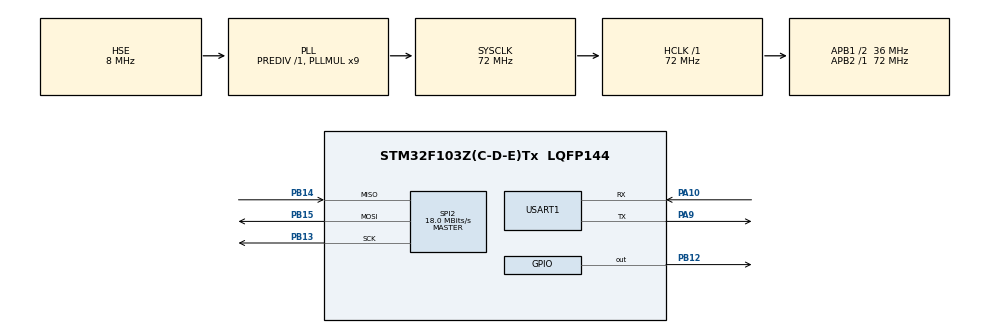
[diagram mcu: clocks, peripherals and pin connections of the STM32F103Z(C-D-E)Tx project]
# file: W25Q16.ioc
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Mcu.Family=STM32F1
Mcu.Name=STM32F103Z(C-D-E)Tx
Mcu.Package=LQFP144
NVIC.PriorityGroup=NVIC_PRIORITYGROUP_4
OSC_IN.Mode=HSE-External-Oscillator
OSC_IN.Signal=RCC_OSC_IN
OSC_OUT.Mode=HSE-External-Oscillator
OSC_OUT.Signal=RCC_OSC_OUT
PA10.Mode=Asynchronous
PA10.Signal=USART1_RX
PA9.Mode=Asynchronous
PA9.Signal=USART1_TX
PB12.Signal=GPIO_Output
PB13.Mode=Full_Duplex_Master
PB13.Signal=SPI2_SCK
PB14.Mode=Full_Duplex_Master
PB14.Signal=SPI2_MISO
PB15.Mode=Full_Duplex_Master
PB15.Signal=SPI2_MOSI
ProjectManager.HeapSize=0x200
ProjectManager.StackSize=0x400
ProjectManager.TargetToolchain=MDK-ARM V5.32
RCC.AHBFreq_Value=72000000
RCC.APB1CLKDivider=RCC_HCLK_DIV2
RCC.APB1Freq_Value=36000000
RCC.APB1TimFreq_Value=72000000
RCC.APB2Freq_Value=72000000
RCC.APB2TimFreq_Value=72000000
RCC.HCLKFreq_Value=72000000
RCC.PLLMUL=RCC_PLL_MUL9
RCC.PLLSourceVirtual=RCC_PLLSOURCE_HSE
RCC.SYSCLKFreq_VALUE=72000000
RCC.SYSCLKSource=RCC_SYSCLKSOURCE_PLLCLK
RCC.USBFreq_Value=72000000
SPI2.CalculateBaudRate=18.0 MBits/s
SPI2.Direction=SPI_DIRECTION_2LINES
SPI2.Mode=SPI_MODE_MASTER
SPI2.VirtualType=VM_MASTER
USART1.VirtualMode=VM_ASYNC
VP_SYS_VS_ND.Mode=No_Debug
board=custom

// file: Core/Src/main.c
/* USER CODE BEGIN Header */
/**
  ******************************************************************************
  * @file           : main.c
  * @brief          : Main program body
  ******************************************************************************
  * @attention
  *
  * Copyright (c) 2023 STMicroelectronics.
  * All rights reserved.
  *
  * This software is licensed under terms that can be found in the LICENSE file
  * in the root directory of this software component.
  * If no LICENSE file comes with this software, it is provided AS-IS.
  *
  ******************************************************************************
  */
/* USER CODE END Header */
#include "main.h"
#include "spi.h"
#include "usart.h"
#include "gpio.h"

/* USER CODE BEGIN Includes */
#include "W25Q.h"
#include "stdio.h"
#include "string.h"
/* USER CODE END Includes */

/* USER CODE BEGIN PV */
uint16_t ID;
char message[100];
char messageR[100];
/* USER CODE END PV */

void SystemClock_Config(void);

int main(void)
{

  /* MCU Configuration--------------------------------------------------------*/

  /* Reset of all peripherals, Initializes the Flash interface and the Systick. */
  HAL_Init();

  /* Configure the system clock */
  SystemClock_Config();

  /* Initialize all configured peripherals */
  MX_GPIO_Init();
  MX_SPI2_Init();
  MX_USART1_UART_Init();

  /* Infinite loop */
  /* USER CODE BEGIN WHILE */
	ID=SPI_Flash_ReadID();
	sprintf(message,"ID:0x%0x\n",ID);
	HAL_UART_Transmit(&huart1,(uint8_t*)message,strlen(message),50);

	SPI_Flash_Erase_Chip();
	sprintf(message,"Erased.\n");
	HAL_UART_Transmit(&huart1,(uint8_t*)message,strlen(message),50);

	sprintf(message,"DATA.\n");
	SPI_Flash_Write_Page(0x0,strlen(message),(uint8_t*)message);

	SPI_Flash_Read(0x0,strlen(message),(uint8_t*)messageR);
	HAL_UART_Transmit(&huart1,(uint8_t*)messageR,strlen(messageR),50);
  while (1)
  {
    /* USER CODE END WHILE */

  }
}

void SystemClock_Config(void)
{
  RCC_OscInitTypeDef RCC_OscInitStruct = {0};
  RCC_ClkInitTypeDef RCC_ClkInitStruct = {0};

  /** Initializes the RCC Oscillators according to the specified parameters
  * in the RCC_OscInitTypeDef structure.
  */
  RCC_OscInitStruct.OscillatorType = RCC_OSCILLATORTYPE_HSE;
  RCC_OscInitStruct.HSEState = RCC_HSE_ON;
  RCC_OscInitStruct.HSEPredivValue = RCC_HSE_PREDIV_DIV1;
  RCC_OscInitStruct.HSIState = RCC_HSI_ON;
  RCC_OscInitStruct.PLL.PLLState = RCC_PLL_ON;
  RCC_OscInitStruct.PLL.PLLSource = RCC_PLLSOURCE_HSE;
  RCC_OscInitStruct.PLL.PLLMUL = RCC_PLL_MUL9;
  if (HAL_RCC_OscConfig(&RCC_OscInitStruct) != HAL_OK)
  {
    Error_Handler();
  }

  /** Initializes the CPU, AHB and APB buses clocks
  */
  RCC_ClkInitStruct.ClockType = RCC_CLOCKTYPE_HCLK|RCC_CLOCKTYPE_SYSCLK
                              |RCC_CLOCKTYPE_PCLK1|RCC_CLOCKTYPE_PCLK2;
  RCC_ClkInitStruct.SYSCLKSource = RCC_SYSCLKSOURCE_PLLCLK;
  RCC_ClkInitStruct.AHBCLKDivider = RCC_SYSCLK_DIV1;
  RCC_ClkInitStruct.APB1CLKDivider = RCC_HCLK_DIV2;
  RCC_ClkInitStruct.APB2CLKDivider = RCC_HCLK_DIV1;

  if (HAL_RCC_ClockConfig(&RCC_ClkInitStruct, FLASH_LATENCY_2) != HAL_OK)
  {
    Error_Handler();
  }
}

void Error_Handler(void)
{
  __disable_irq();
  while (1)
  {
  }
}
